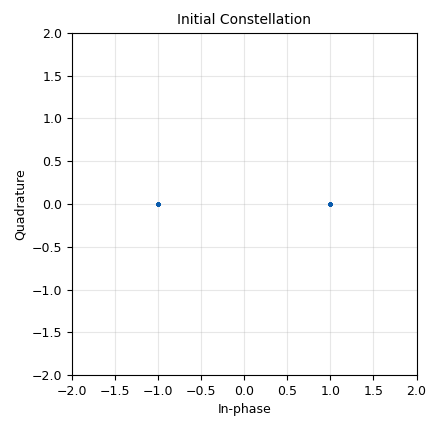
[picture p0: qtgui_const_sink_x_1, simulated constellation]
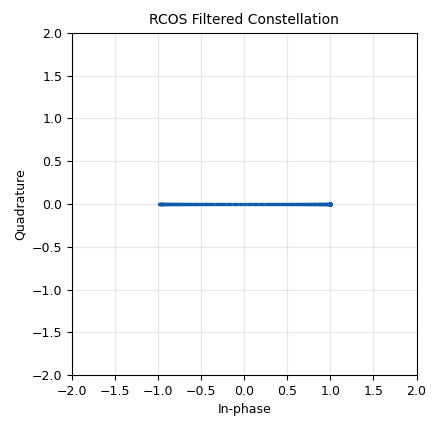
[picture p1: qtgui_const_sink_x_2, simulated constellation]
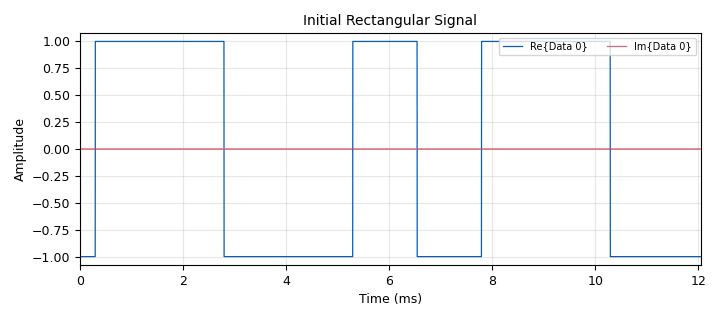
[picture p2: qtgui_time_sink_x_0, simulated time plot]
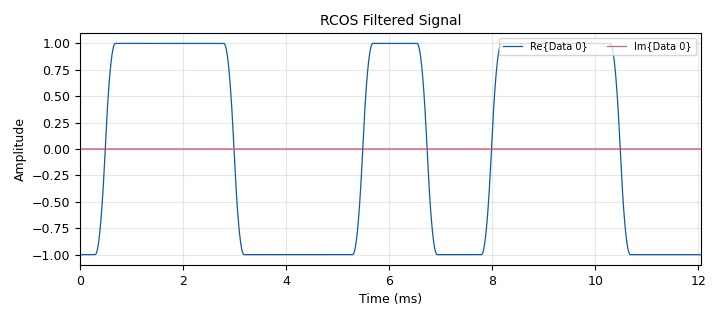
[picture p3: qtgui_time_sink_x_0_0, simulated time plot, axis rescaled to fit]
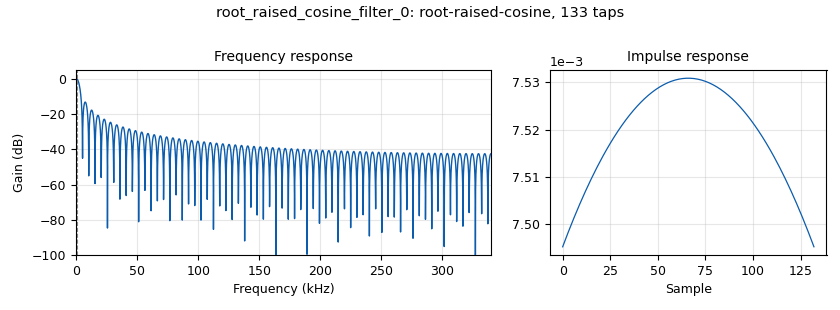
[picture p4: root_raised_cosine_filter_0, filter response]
options:
  parameters:
    author: rclar
    generate_options: qt_gui
    id: plutoTest
    output_language: python
    title: plutoTest
  states: {}

blocks:
- name: bpsk_constellation
  id: variable_constellation
  parameters:
    precision: '8'
    soft_dec_lut: '''auto'''
    type: bpsk
  states: {}
- name: rx_gain
  id: variable_qtgui_range
  parameters:
    label: rx_gain
    start: '0'
    step: '1'
    stop: '70'
    value: '45'
  states: {}
- name: samp_rate
  id: variable
  parameters:
    value: '680000'
  states: {}
- name: blocks_repack_bits_bb_0
  id: blocks_repack_bits_bb
  parameters:
    endianness: gr.GR_MSB_FIRST
    k: '1'
    l: '8'
    len_tag_key: ''''''
  states: {state: disabled}
- name: blocks_repeat_0
  id: blocks_repeat
  parameters:
    comment: |-
      We repeat this by samples_per_bit/2
      to get rectangular BPSK.
      (We divide by 2 since manchester encoded
      BPSK has half the data rate of regular BPSK)
    interp: '850'
    type: complex
  states: {}
- name: blocks_throttle2_0
  id: blocks_throttle2
  parameters:
    samples_per_second: samp_rate
    type: complex
  states: {}
- name: blocks_vector_source_x_0
  id: blocks_vector_source_x
  parameters:
    comment: |-
      This is our initial symbol source. The 
      bit sequence is (1, 0, 0) repeating, so the
      manchester encoded bits are
      (1, -1, -1, 1, -1, 1) repeating.
    repeat: 'True'
    type: complex
    vector: (1, -1, -1, 1, -1, 1,)
  states: {}
- name: digital_constellation_decoder_cb_0
  id: digital_constellation_decoder_cb
  parameters:
    constellation: bpsk_constellation
  states: {state: disabled}
- name: digital_costas_loop_cc_0
  id: digital_costas_loop_cc
  parameters:
    comment: |-
      This is our costas loop that corrects the frequency offset
      coming from the imperfect receiver. This looks very
      close to our original signal now!
    order: '2'
    w: '.150'
  states: {}
- name: digital_symbol_sync_xx_0
  id: digital_symbol_sync_xx
  parameters:
    comment: |-
      Our symbol synchronization figures out the timing
      to sample the signal. After this samples the signal, you can
      see that we get back the original repeating
      [1, -1, -1, 1, -1, 1] sequence! However, we still need to convert
      the Manchester encoded symbols back into 1's and 0's.
    damping: '1.0'
    loop_bw: '0.045'
    max_dev: '1.5'
    nfilters: '128'
    osps: '1'
    resamp_type: digital.IR_PFB_NO_MF
    sps: '850'
    ted_gain: '1.0'
    ted_type: digital.TED_GARDNER
    type: cc
  states: {}
- name: iio_pluto_sink_0
  id: iio_pluto_sink
  parameters:
    attenuation1: '1'
    bandwidth: '20000000'
    buffer_size: '32768'
    cyclic: 'True'
    filter_source: '''Auto'''
    frequency: '406025000'
    len_tag_key: ''''''
    samplerate: samp_rate
    type: fc32
    uri: ip:192.168.2.1
  states: {}
- name: iio_pluto_source_0
  id: iio_pluto_source
  parameters:
    bandwidth: '200000 '
    bbdc: 'True'
    buffer_size: '32768'
    filter_source: '''Auto'''
    frequency: '406025000'
    gain1: '''manual'''
    manual_gain1: rx_gain
    quadrature: 'True'
    rfdc: 'True'
    samplerate: samp_rate
    type: fc32
    uri: ip:192.168.2.1
  states: {}
- name: network_tcp_sink_0
  id: network_tcp_sink
  parameters:
    addr: 127.0.0.1
    mode: '1'
    port: '5005'
    type: byte
  states: {state: disabled}
- name: pdu_pdu_to_stream_x_0
  id: pdu_pdu_to_stream_x
  parameters:
    early_behavior: pdu.EARLY_BURST_APPEND
    type: byte
  states: {state: disabled}
- name: pdu_tagged_stream_to_pdu_1
  id: pdu_tagged_stream_to_pdu
  parameters:
    tag: packet_len
    type: byte
  states: {state: disabled}
- name: qtgui_const_sink_x_1
  id: qtgui_const_sink_x
  parameters:
    gui_hint: 0,1,1,1
    name: '"Initial Constellation"'
    size: '1024'
    type: complex
  states: {}
- name: qtgui_const_sink_x_2
  id: qtgui_const_sink_x
  parameters:
    gui_hint: 1,1,1,1
    name: '"RCOS Filtered Constellation"'
    size: '1024'
    type: complex
  states: {}
- name: qtgui_const_sink_x_2_0
  id: qtgui_const_sink_x
  parameters:
    gui_hint: 3,1,1,1
    name: '"Received Constellation"'
    size: '1024'
    type: complex
  states: {}
- name: qtgui_const_sink_x_2_0_0
  id: qtgui_const_sink_x
  parameters:
    gui_hint: 4,1,1,1
    name: '"Match Filtered Constellation"'
    size: '1024'
    type: complex
  states: {}
- name: qtgui_const_sink_x_2_0_0_0
  id: qtgui_const_sink_x
  parameters:
    gui_hint: 6,1,1,1
    name: '"Sampled Constellation"'
    size: '1024'
    type: complex
  states: {}
- name: qtgui_const_sink_x_2_0_0_0_0
  id: qtgui_const_sink_x
  parameters:
    gui_hint: 5,1,1,1
    name: '"Post Costas Loop Constellation"'
    size: '1024'
    type: complex
  states: {}
- name: qtgui_time_sink_x_0
  id: qtgui_time_sink_x
  parameters:
    gui_hint: 0,0,1,1
    name: '"Initial Rectangular Signal"'
    size: '8192'
    srate: samp_rate
    type: complex
  states: {}
- name: qtgui_time_sink_x_0_0
  id: qtgui_time_sink_x
  parameters:
    gui_hint: 1,0,1,1
    name: '"RCOS Filtered Signal"'
    size: '8192'
    srate: samp_rate
    type: complex
  states: {}
- name: qtgui_time_sink_x_0_0_0
  id: qtgui_time_sink_x
  parameters:
    gui_hint: 3,0,1,1
    name: '"Received Signal"'
    size: '8192'
    srate: samp_rate
    type: complex
  states: {}
- name: qtgui_time_sink_x_0_0_0_0
  id: qtgui_time_sink_x
  parameters:
    gui_hint: 4,0,1,1
    name: '"Match Filtered Signal"'
    size: '8192'
    srate: samp_rate
    type: complex
  states: {}
- name: qtgui_time_sink_x_2
  id: qtgui_time_sink_x
  parameters:
    ctrlpanel: 'True'
    gui_hint: 6,0,1,1
    name: '"Sampled Manchester Symbols"'
    size: '16'
    srate: samp_rate
    type: complex
  states: {}
- name: qtgui_time_sink_x_2_0
  id: qtgui_time_sink_x
  parameters:
    gui_hint: 5,0,1,1
    name: '"Post Costas Loop Signal"'
    size: '8192'
    srate: samp_rate
    type: complex
  states: {}
- name: root_raised_cosine_filter_0
  id: root_raised_cosine_filter
  parameters:
    alpha: '0.8'
    comment: |-
      Because rectangular BPSK is "impossible" to fulfill
      in real conditions, we apply a raised cosine filter
      to reduce the high frequencies. This is achieved in 
      GNURadio by having two root raised cosine filters in
      series.
    decim: '1'
    gain: '1'
    ntaps: '132'
    samp_rate: samp_rate
    sym_rate: '400'
    type: fir_filter_ccf
  states: {}
- name: root_raised_cosine_filter_0_0
  id: root_raised_cosine_filter
  parameters:
    alpha: '0.8'
    comment: |-
      This is our matched filter. Notice how it's the same exact configuration as
      the initial rcos filter we applied at the beginning! The matched
      filter basically maximises the signal-to-noise ratio for us. While
      we may have fixed the noise issue, you can see that the constellation
      is still rotating, meaning there's still a frequency offset.
    decim: '1'
    gain: '1'
    ntaps: '132'
    samp_rate: samp_rate
    sym_rate: '400'
    type: fir_filter_ccf
  states: {}
- name: root_raised_cosine_filter_1
  id: root_raised_cosine_filter
  parameters:
    alpha: '0.8'
    decim: '1'
    gain: '1'
    ntaps: '132'
    samp_rate: samp_rate
    sym_rate: '400'
    type: fir_filter_ccf
  states: {}
- name: root_raised_cosine_filter_1_0
  id: root_raised_cosine_filter
  parameters:
    alpha: '0.8'
    decim: '1'
    gain: '1'
    ntaps: '132'
    samp_rate: samp_rate
    sym_rate: '400'
    type: fir_filter_ccf
  states: {}

connections:
- [blocks_repack_bits_bb_0, '0', pdu_tagged_stream_to_pdu_1, '0']
- [blocks_repeat_0, '0', qtgui_const_sink_x_1, '0']
- [blocks_repeat_0, '0', qtgui_time_sink_x_0, '0']
- [blocks_repeat_0, '0', root_raised_cosine_filter_0, '0']
- [blocks_throttle2_0, '0', blocks_repeat_0, '0']
- [blocks_vector_source_x_0, '0', blocks_throttle2_0, '0']
- [digital_constellation_decoder_cb_0, '0', blocks_repack_bits_bb_0, '0']
- [digital_costas_loop_cc_0, '0', digital_symbol_sync_xx_0, '0']
- [digital_costas_loop_cc_0, '0', qtgui_const_sink_x_2_0_0_0_0, '0']
- [digital_costas_loop_cc_0, '0', qtgui_time_sink_x_2_0, '0']
- [digital_symbol_sync_xx_0, '0', digital_constellation_decoder_cb_0, '0']
- [digital_symbol_sync_xx_0, '0', qtgui_const_sink_x_2_0_0_0, '0']
- [digital_symbol_sync_xx_0, '0', qtgui_time_sink_x_2, '0']
- [iio_pluto_source_0, '0', qtgui_const_sink_x_2_0, '0']
- [iio_pluto_source_0, '0', qtgui_time_sink_x_0_0_0, '0']
- [iio_pluto_source_0, '0', root_raised_cosine_filter_0_0, '0']
- [pdu_pdu_to_stream_x_0, '0', network_tcp_sink_0, '0']
- [pdu_tagged_stream_to_pdu_1, pdus, pdu_pdu_to_stream_x_0, pdus]
- [root_raised_cosine_filter_0, '0', root_raised_cosine_filter_1, '0']
- [root_raised_cosine_filter_0_0, '0', root_raised_cosine_filter_1_0, '0']
- [root_raised_cosine_filter_1, '0', iio_pluto_sink_0, '0']
- [root_raised_cosine_filter_1, '0', qtgui_const_sink_x_2, '0']
- [root_raised_cosine_filter_1, '0', qtgui_time_sink_x_0_0, '0']
- [root_raised_cosine_filter_1_0, '0', digital_costas_loop_cc_0, '0']
- [root_raised_cosine_filter_1_0, '0', qtgui_const_sink_x_2_0_0, '0']
- [root_raised_cosine_filter_1_0, '0', qtgui_time_sink_x_0_0_0_0, '0']

metadata:
  file_format: 1
  grc_version: 3.10.12.0
